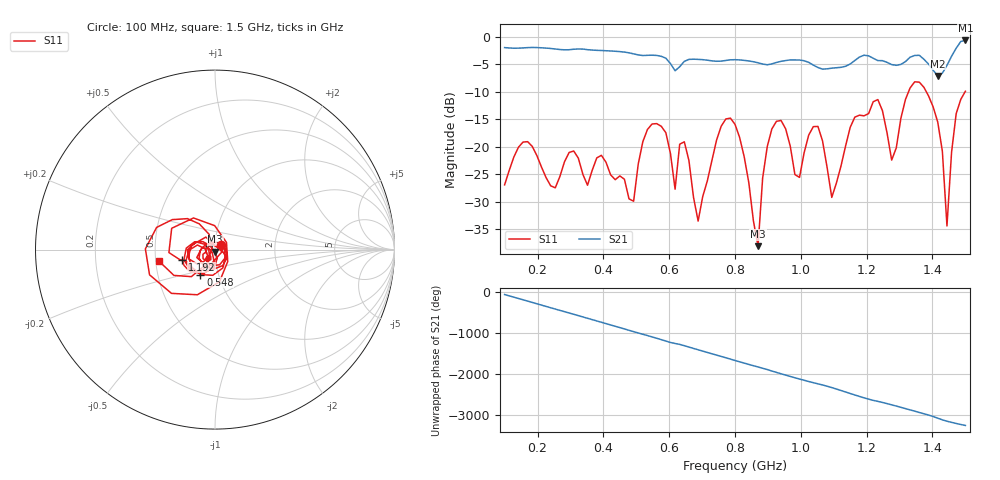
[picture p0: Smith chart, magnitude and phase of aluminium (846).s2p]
! NanoVNA-App
! Date: 2025-09-25 15:01:52
! Start: 100MHz Stop: 1,5GHz Points: 101
! S-Parameter data: F S11 S21 S12 S22
# Hz S RI R 50
!  Frequency  S11_Real  S11_Imag  S21_Real  S21_Imag  S12_Real  S12_Imag  S22_Real  S22_Imag
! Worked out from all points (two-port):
!   101 points, 100 MHz to 1.5 GHz, reference 50 ohm
!   highest |S21| = -0.62 dB at 1.5 GHz (marker M1); lowest = -7.1 dB at 1.416 GHz (marker M2)
!   |S21| within 3 dB of the highest: start of sweep to 580.3 MHz; 1.457 GHz to end of sweep (the widest 2 of 4)
!   lowest |S11| = -38.1 dB at 870 MHz (marker M3), VSWR 1.03, Z = 50.1 - j1.23 ohm
!   |S11| at or under -10 dB: start of sweep to 1.327 GHz; 1.381 GHz to 1.499 GHz (117.5 MHz wide, 8.16 % of centre)
!   S12 and S22 are empty: the file has one direction only
!   S11 on the Smith chart (normalised r, x): 100 MHz: 1.07, +0.06; 548 MHz: 0.82, -0.23; 1.192 GHz: 0.69, -0.08; 1.5 GHz: 0.52, -0.07
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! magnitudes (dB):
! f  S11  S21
! 100 MHz  -27.0  -1.9
! 156 MHz  -19.2  -2.0
! 338 MHz  -25.1  -2.2
! 492 MHz  -29.9  -3.1
! 548 MHz  -15.9  -3.3
! 576 MHz  -16.3  -3.5
! 618 MHz  -27.7  -6.1
! 646 MHz  -19.1  -4.4
! 688 MHz  -33.6  -4.1
! 800 MHz  -15.9  -4.1
! 870 MHz  -38.1  -4.7
! 912 MHz  -16.8  -4.9
! 996 MHz  -25.6  -4.2
! 1.038 GHz  -16.3  -5.1
! 1.094 GHz  -29.2  -5.7
! 1.192 GHz  -14.4  -3.3
! 1.276 GHz  -22.4  -5.0
! 1.346 GHz  -8.2  -3.4
! 1.416 GHz  -15.5  -7.1
! 1.444 GHz  -34.5  -5.2
! 1.472 GHz  -14.0  -2.0
! 1.5 GHz  -9.9  -0.6
